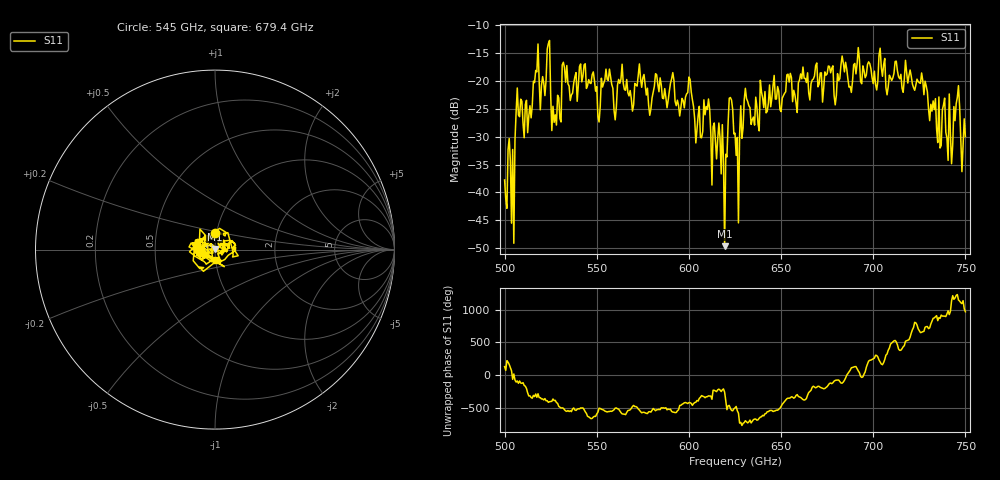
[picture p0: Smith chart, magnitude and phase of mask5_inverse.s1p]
!Created with skrf (http://scikit-rf.org).
# GHz S MA R 50.0
!freq magS11 angS11
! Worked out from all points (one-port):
!   401 points, 500 GHz to 750 GHz, reference 50 ohm
!   lowest |S11| = -49.7 dB at 619.4 GHz (marker M1), VSWR 1.01, Z = 50 + j0.324 ohm
!   |S11| at or under -10 dB: start of sweep to end of sweep
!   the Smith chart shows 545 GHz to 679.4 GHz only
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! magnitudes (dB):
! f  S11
! 500 GHz  -37.8
! 504.4 GHz  -32.3
! 507.5 GHz  -26.1
! 513.8 GHz  -24.4
! 516.9 GHz  -18.1
! 520.6 GHz  -19.2
! 523.8 GHz  -13.3
! 526.9 GHz  -27.4
! 531.2 GHz  -17.1
! 542.5 GHz  -19.1
! 550.6 GHz  -26.4
! 556.2 GHz  -19.9
! 560 GHz  -27.0
! 562.5 GHz  -20.4
! 593.8 GHz  -23.4
! 609.4 GHz  -24.6
! 619.4 GHz  -49.7
! 622.5 GHz  -23.0
! 625 GHz  -29.4
! 626.2 GHz  -30.1
! 631.2 GHz  -23.2
! 656.2 GHz  -23.7
! 687.5 GHz  -21.0
! 718.8 GHz  -20.4
! 735.6 GHz  -22.9
! 741.9 GHz  -29.6
! 745.6 GHz  -22.9
! 750 GHz  -30.0
